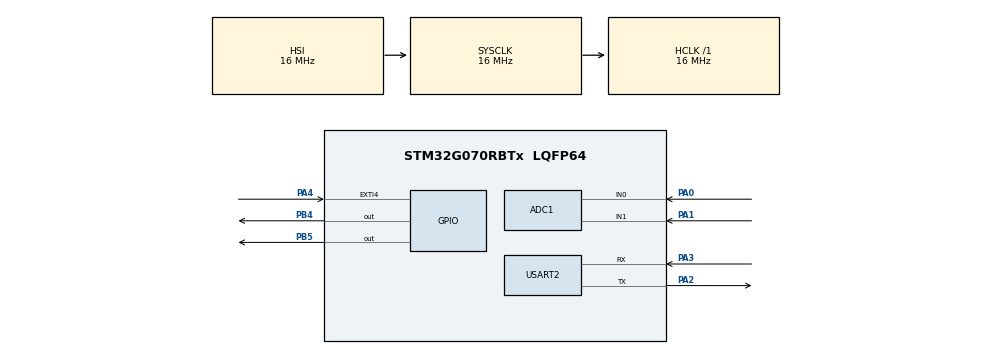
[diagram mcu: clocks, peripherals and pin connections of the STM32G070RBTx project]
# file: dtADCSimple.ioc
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ADC1.ContinuousConvMode=ENABLE
ADC1.DMAContinuousRequests=ENABLE
ADC1.EOCSelection=ADC_EOC_SEQ_CONV
ADC1.EnableAnalogWatchDog1=false
ADC1.NbrOfConversion=1
ADC1.NbrOfConversionFlag=0
ADC1.Overrun=ADC_OVR_DATA_OVERWRITTEN
ADC1.OversamplingMode=DISABLE
ADC1.SamplingTimeCommon1=ADC_SAMPLETIME_12CYCLES_5
ADC1.SelectedChannel=ADC_CHANNEL_0|ADC_CHANNEL_1
ADC1.Sequencer=NOT_FULLY_CONFIGURABLE
ADC1.master=1
Dma.ADC1.0.Direction=DMA_PERIPH_TO_MEMORY
Dma.ADC1.0.EventEnable=DISABLE
Dma.ADC1.0.Instance=DMA1_Channel1
Dma.ADC1.0.MemDataAlignment=DMA_MDATAALIGN_HALFWORD
Dma.ADC1.0.MemInc=DMA_MINC_ENABLE
Dma.ADC1.0.Mode=DMA_CIRCULAR
Dma.ADC1.0.PeriphDataAlignment=DMA_PDATAALIGN_HALFWORD
Dma.ADC1.0.PeriphInc=DMA_PINC_DISABLE
Dma.ADC1.0.Polarity=HAL_DMAMUX_REQ_GEN_RISING
Dma.ADC1.0.Priority=DMA_PRIORITY_LOW
Dma.ADC1.0.RequestNumber=1
Dma.ADC1.0.SignalID=NONE
Dma.ADC1.0.SyncEnable=DISABLE
Dma.ADC1.0.SyncPolarity=HAL_DMAMUX_SYNC_NO_EVENT
Dma.ADC1.0.SyncRequestNumber=1
Dma.ADC1.0.SyncSignalID=NONE
Dma.Request0=ADC1
Mcu.Family=STM32G0
Mcu.Name=STM32G070RBTx
Mcu.Package=LQFP64
NVIC.ADC1_IRQn=true\:0\:0\:false\:false\:true\:true\:true\:true
NVIC.DMA1_Channel1_IRQn=true\:0\:0\:false\:false\:true\:false\:true\:true
NVIC.EXTI4_15_IRQn=true\:0\:0\:false\:false\:true\:true\:true\:true
NVIC.USART2_IRQn=true\:0\:0\:false\:false\:true\:true\:true\:true
PA0.Mode=IN0
PA0.Signal=ADC1_IN0
PA1.Mode=IN1
PA1.Signal=ADC1_IN1
PA13.Mode=Serial_Wire
PA13.Signal=SYS_SWDIO
PA14-BOOT0.Mode=Serial_Wire
PA14-BOOT0.Signal=SYS_SWCLK
PA2.Mode=Asynchronous
PA2.Signal=USART2_TX
PA3.Mode=Asynchronous
PA3.Signal=USART2_RX
PA4.GPIO_PuPd=GPIO_PULLUP
PA4.Signal=GPXTI4
PB4.Signal=GPIO_Output
PB5.Signal=GPIO_Output
ProjectManager.HeapSize=0x200
ProjectManager.StackSize=0x400
ProjectManager.TargetToolchain=STM32CubeIDE
RCC.AHBFreq_Value=16000000
RCC.CortexFreq_Value=16000000
RCC.EXTERNAL_CLOCK_VALUE=48000
RCC.HCLKFreq_Value=16000000
RCC.HSE_VALUE=8000000
RCC.HSI_VALUE=16000000
RCC.LSE_VALUE=32768
RCC.SYSCLKFreq_VALUE=16000000
RCC.VCOOutputFreq_Value=128000000
USART2.VirtualMode-Asynchronous=VM_ASYNC
VP_SYS_VS_DBSignals.Mode=DisableDeadBatterySignals
board=custom

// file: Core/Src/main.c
/* USER CODE BEGIN Header */
/**
  ******************************************************************************
  * @file           : main.c
  * @brief          : Main program body
  ******************************************************************************
  * @attention
  *
  * Copyright (c) 2022 STMicroelectronics.
  * All rights reserved.
  *
  * This software is licensed under terms that can be found in the LICENSE file
  * in the root directory of this software component.
  * If no LICENSE file comes with this software, it is provided AS-IS.
  *
  ******************************************************************************
  */
/* USER CODE END Header */
#include "main.h"
#include "adc.h"
#include "dma.h"
#include "usart.h"
#include "gpio.h"

/* USER CODE BEGIN PV */
__IO int Userbutton = 0;
__IO int i = 0;
__IO uint16_t ADCdata[2];

/* USER CODE END PV */

void SystemClock_Config(void);

int main(void)
{

  /* MCU Configuration--------------------------------------------------------*/

  /* Reset of all peripherals, Initializes the Flash interface and the Systick. */
  HAL_Init();

  /* Configure the system clock */
  SystemClock_Config();

  /* Initialize all configured peripherals */
  MX_GPIO_Init();
  MX_USART2_UART_Init();
  MX_DMA_Init();
  MX_ADC1_Init();
  /* USER CODE BEGIN 2 */

  if(HAL_ADCEx_Calibration_Start(&hadc1) != HAL_OK){
	  Error_Handler();
  }

  if(HAL_ADC_Start_DMA(&hadc1, (uint32_t *)ADCdata, (uint32_t)2) != HAL_OK){
	  Error_Handler();
  }

  /* USER CODE END 2 */

  /* Infinite loop */
  /* USER CODE BEGIN WHILE */
  while (1)
  {

	while(!Userbutton){
		HAL_GPIO_TogglePin(GPIOB, GPIO_PIN_4);
		HAL_Delay(100);
	}

	HAL_Delay(100);

	Userbutton = 0;

	/*for(i = 0; i<=1; i++){
		ADCdata[i] = 0x00;
	}

	if(HAL_ADC_Start(&hadc1) != HAL_OK){
		Error_Handler();
	}*/

    /* USER CODE END WHILE */

  }
}

void SystemClock_Config(void)
{
  RCC_OscInitTypeDef RCC_OscInitStruct = {0};
  RCC_ClkInitTypeDef RCC_ClkInitStruct = {0};

  /** Configure the main internal regulator output voltage
  */
  HAL_PWREx_ControlVoltageScaling(PWR_REGULATOR_VOLTAGE_SCALE1);

  /** Initializes the RCC Oscillators according to the specified parameters
  * in the RCC_OscInitTypeDef structure.
  */
  RCC_OscInitStruct.OscillatorType = RCC_OSCILLATORTYPE_HSI;
  RCC_OscInitStruct.HSIState = RCC_HSI_ON;
  RCC_OscInitStruct.HSIDiv = RCC_HSI_DIV1;
  RCC_OscInitStruct.HSICalibrationValue = RCC_HSICALIBRATION_DEFAULT;
  RCC_OscInitStruct.PLL.PLLState = RCC_PLL_NONE;
  if (HAL_RCC_OscConfig(&RCC_OscInitStruct) != HAL_OK)
  {
    Error_Handler();
  }

  /** Initializes the CPU, AHB and APB buses clocks
  */
  RCC_ClkInitStruct.ClockType = RCC_CLOCKTYPE_HCLK|RCC_CLOCKTYPE_SYSCLK
                              |RCC_CLOCKTYPE_PCLK1;
  RCC_ClkInitStruct.SYSCLKSource = RCC_SYSCLKSOURCE_HSI;
  RCC_ClkInitStruct.AHBCLKDivider = RCC_SYSCLK_DIV1;
  RCC_ClkInitStruct.APB1CLKDivider = RCC_HCLK_DIV1;

  if (HAL_RCC_ClockConfig(&RCC_ClkInitStruct, FLASH_LATENCY_0) != HAL_OK)
  {
    Error_Handler();
  }
}

/* USER CODE BEGIN 4 */
void HAL_GPIO_EXTI_Rising_Callback(uint16_t GPIO_Pin)
{
  if(GPIO_Pin == GPIO_PIN_4){
	  HAL_GPIO_WritePin(GPIOB, GPIO_PIN_5, GPIO_PIN_SET);
	  Userbutton = 1;
  }
}

void HAL_ADC_ConvCpltCallback(ADC_HandleTypeDef *hadc)
{
  HAL_GPIO_WritePin(GPIOB, GPIO_PIN_5, GPIO_PIN_RESET);
}
/* USER CODE END 4 */

void Error_Handler(void)
{
  /* USER CODE BEGIN Error_Handler_Debug */
  /* User can add his own implementation to report the HAL error return state */
  __disable_irq();
  while (1)
  {
	  HAL_GPIO_WritePin(GPIOB, GPIO_PIN_4, GPIO_PIN_SET);
  }
  /* USER CODE END Error_Handler_Debug */
}
